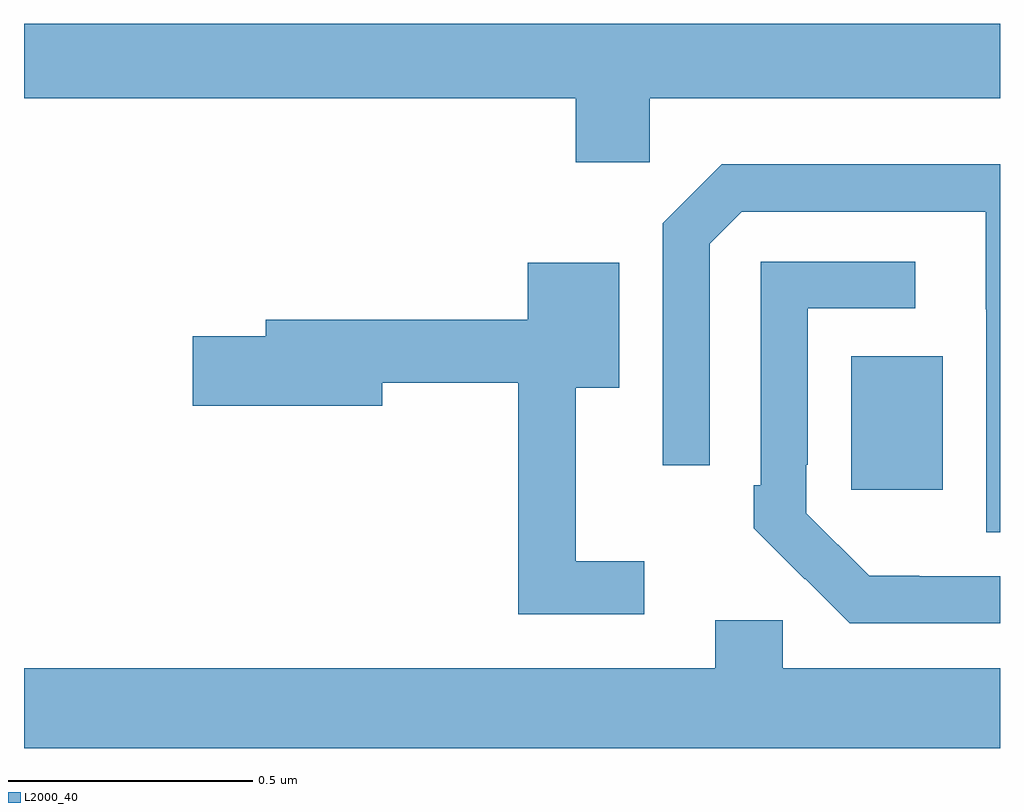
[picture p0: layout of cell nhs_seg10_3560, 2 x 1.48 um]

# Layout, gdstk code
import gdstk
lib = gdstk.Library(unit=1e-6, precision=1e-09)
def R(c, l, rs):  # rectangles x0, y0, x1, y1
    for r in rs: c.add(gdstk.rectangle(r[:2], r[2:], *l))
def P(c, l, *ps):  # polygons
    for p in ps: c.add(gdstk.Polygon(p, *l))
L2000_40 = (2000, 40)

nhs_seg10_3560 = lib.new_cell('nhs_seg10_3560')
R(nhs_seg10_3560, L2000_40, [(156.695,1267.545,156.883,1267.819)])
P(nhs_seg10_3560, L2000_40, [(156.282,1268.348),(157,1268.348),(157,1268.5),(155,1268.5),(155,1268.348),(156.131,1268.348),(156.131,1268.217),(156.282,1268.217)],
  [(157,1268.212),(156.43,1268.212),(156.309,1268.091),(156.309,1267.596),(156.405,1267.596),(156.405,1268.049),(156.471,1268.115),(156.971,1268.115),(156.971,1267.915),(156.972,1267.915),(156.972,1267.458),(157,1267.458)],
  [(157,1267.368),(156.835,1267.368),(156.835,1267.369),(156.732,1267.369),(156.603,1267.497),(156.603,1267.597),(156.606,1267.597),(156.606,1267.917),(156.826,1267.917),(156.826,1268.013),(156.51,1268.013),(156.51,1267.555),(156.495,1267.555),(156.495,1267.467),(156.6,1267.362),(156.601,1267.363),(156.692,1267.272),(157,1267.272)],
  [(156.271,1267.399),(156.131,1267.399),(156.131,1267.754),(156.22,1267.754),(156.22,1268.011),(156.032,1268.011),(156.032,1267.894),(155.495,1267.894),(155.495,1267.86),(155.346,1267.86),(155.346,1267.718),(155.734,1267.718),(155.734,1267.765),(156.013,1267.765),(156.013,1267.29),(156.271,1267.29)],
  [(157,1267.18),(156.555,1267.18),(156.555,1267.278),(156.416,1267.278),(156.416,1267.18),(155,1267.18),(155,1267.016),(157,1267.016)])

lib.write_gds('nhs_seg10_3560.gds')
